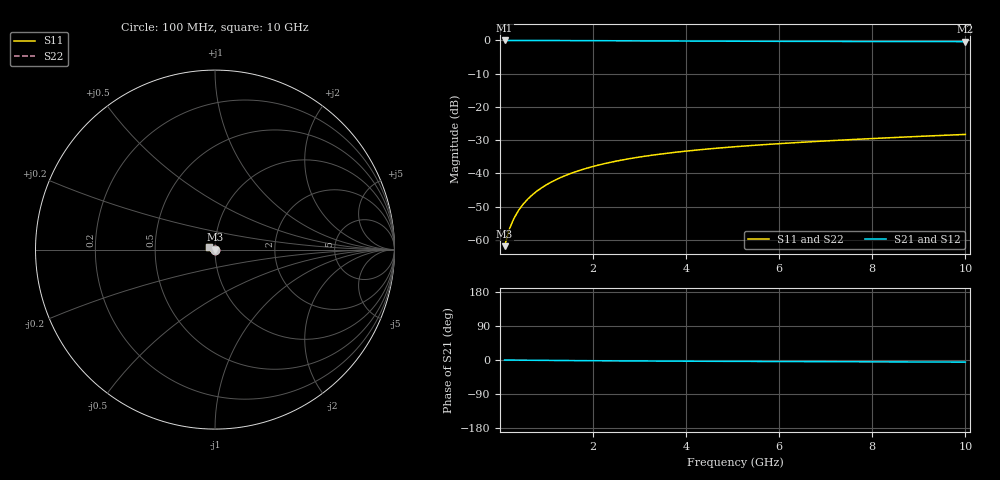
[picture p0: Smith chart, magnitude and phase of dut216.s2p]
! Touchstone file exported from HFSS 2024.1.0
!  File:  C:/UserFiles/LocalFiles/RDL_TSV_Batchsim/temp_TSV1_216_1779387239.aedt
!  Generated:  02:20:30 AM May 22, 2026
!  Design:  TSV1
!  Project:  temp_TSV1_216_1779387239
!  Setup:  Setup1
!  Solution:  Sweep
! Variables:
!  dtsv = 5.84um
!  hbump = 3um
!  htsv = 85.8um
!  lrdl = 252.1521522um
!  p = 40
!  p1 = 43.55um
!  t = 500um
!  trdl = 3um
!  wrdl = 24.89489489um
# GHz S MA R 50.000000
! Terminal data exported
! Port[1] = TSV22_T1
! Port[2] = TSV22_T2
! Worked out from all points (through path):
!   100 points, 100 MHz to 10 GHz, reference 50 ohm
!   highest |S21| = 0.00 dB at 100 MHz (marker M1); lowest = -0.4 dB at 10 GHz (marker M2)
!   lowest |S11| = -61.9 dB at 100 MHz (marker M3), VSWR 1.00, Z = 50 - j0.0688 ohm
!   |S11| at or under -10 dB: start of sweep to end of sweep
!   |S22| runs from -61.9 to -28.3 dB; largest |S21 - S12| = 6e-15
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0.1  0.0008016 -59.1  0.9995 -0.1  0.9995 -0.1  0.0008016 -59.1
! Gamma 0 0 0 0
! Port Impedance 50 0 50 0
0.2  0.001434 -76.0  0.9995 -0.2  0.9995 -0.2  0.001434 -76.0
0.3  0.002099 -83.6  0.9993 -0.3  0.9993 -0.3  0.002099 -83.6
0.4  0.002771 -88.5  0.9992 -0.4  0.9992 -0.4  0.002771 -88.5
0.5  0.003443 -92.2  0.9989 -0.5  0.9989 -0.5  0.003443 -92.2
0.6  0.004113 -95.3  0.9987 -0.6  0.9987 -0.6  0.004113 -95.3
0.7  0.004778 -98.1  0.9984 -0.7  0.9984 -0.7  0.004778 -98.1
0.8  0.005438 -100.6  0.9981 -0.8  0.9981 -0.8  0.005438 -100.6
0.9  0.006091 -103.0  0.9977 -0.9  0.9977 -0.9  0.006091 -103.0
1.1  0.007375 -107.4  0.9969 -1.1  0.9969 -1.1  0.007375 -107.4
1.4  0.009237 -113.5  0.9954 -1.4  0.9954 -1.4  0.009237 -113.5
1.6  0.01043 -117.4  0.9942 -1.6  0.9942 -1.6  0.01043 -117.4
1.8  0.01158 -121.0  0.993 -1.7  0.993 -1.7  0.01158 -121.0
2.1  0.01323 -126.3  0.9911 -2.0  0.9911 -2.0  0.01323 -126.3
2.5  0.01527 -132.9  0.9885 -2.3  0.9885 -2.3  0.01527 -132.9
2.9  0.01715 -139.1  0.9859 -2.5  0.9859 -2.5  0.01715 -139.1
3.4  0.01929 -146.2  0.9827 -2.8  0.9827 -2.8  0.01929 -146.2
4.2  0.02232 -156.5  0.978 -3.3  0.978 -3.3  0.02232 -156.5
5.1  0.02529 -166.5  0.9735 -3.7  0.9735 -3.7  0.02529 -166.5
6.7  0.02992 178.7  0.9675 -4.3  0.9675 -4.3  0.02992 178.7
8.4  0.03441 166.2  0.963 -5.0  0.963 -5.0  0.03441 166.2
10  0.03852 156.7  0.96 -5.6  0.96 -5.6  0.03852 156.7
